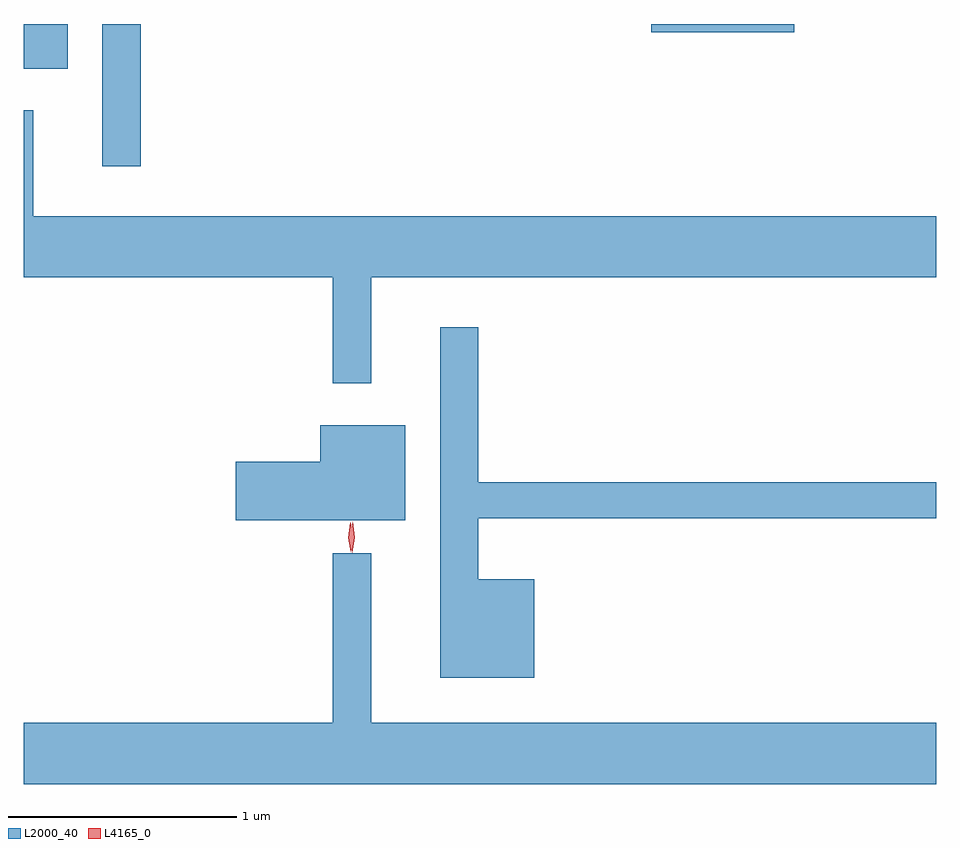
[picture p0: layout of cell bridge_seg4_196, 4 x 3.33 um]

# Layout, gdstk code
import gdstk
lib = gdstk.Library(unit=1e-6, precision=1e-09)
def R(c, l, rs):  # rectangles x0, y0, x1, y1
    for r in rs: c.add(gdstk.rectangle(r[:2], r[2:], *l))
def P(c, l, *ps):  # polygons
    for p in ps: c.add(gdstk.Polygon(p, *l))
L2000_40 = (2000, 40)
L4165_0 = (4165, 0)

bridge_seg4_196 = lib.new_cell('bridge_seg4_196')
R(bridge_seg4_196, L2000_40, [(1102.341,1286.343,1102.509,1286.967), (1101.996,1286.771,1102.189,1286.967), (1104.746,1286.931,1105.374,1286.967)])
P(bridge_seg4_196, L2000_40, [(1103.519,1285.856),(1105.996,1285.856),(1105.996,1286.124),(1102.039,1286.124),(1102.039,1286.588),(1101.996,1286.588),(1101.996,1285.856),(1103.351,1285.856),(1103.351,1285.393),(1103.519,1285.393)],
  [(1104.234,1284.534),(1103.989,1284.534),(1103.989,1284.801),(1105.996,1284.801),(1105.996,1284.959),(1103.989,1284.959),(1103.989,1285.638),(1103.821,1285.638),(1103.821,1284.101),(1104.234,1284.101)],
  [(1103.669,1285.209),(1103.296,1285.209),(1103.296,1285.049),(1102.926,1285.049),(1102.926,1284.791),(1103.669,1284.791)],
  [(1105.996,1283.904),(1103.519,1283.904),(1103.519,1284.648),(1103.351,1284.648),(1103.351,1283.904),(1101.996,1283.904),(1101.996,1283.636),(1105.996,1283.636)])
P(bridge_seg4_196, L4165_0, [(1103.429,1284.653),(1103.429,1284.654),(1103.419,1284.716),(1103.428,1284.78),(1103.429,1284.78),(1103.429,1284.78),(1103.439,1284.716),(1103.43,1284.654)],
  [(1103.436,1284.65),(1103.428,1284.718),(1103.438,1284.785),(1103.438,1284.786),(1103.439,1284.785),(1103.448,1284.718),(1103.437,1284.65),(1103.437,1284.65)])

lib.write_gds('bridge_seg4_196.gds')
